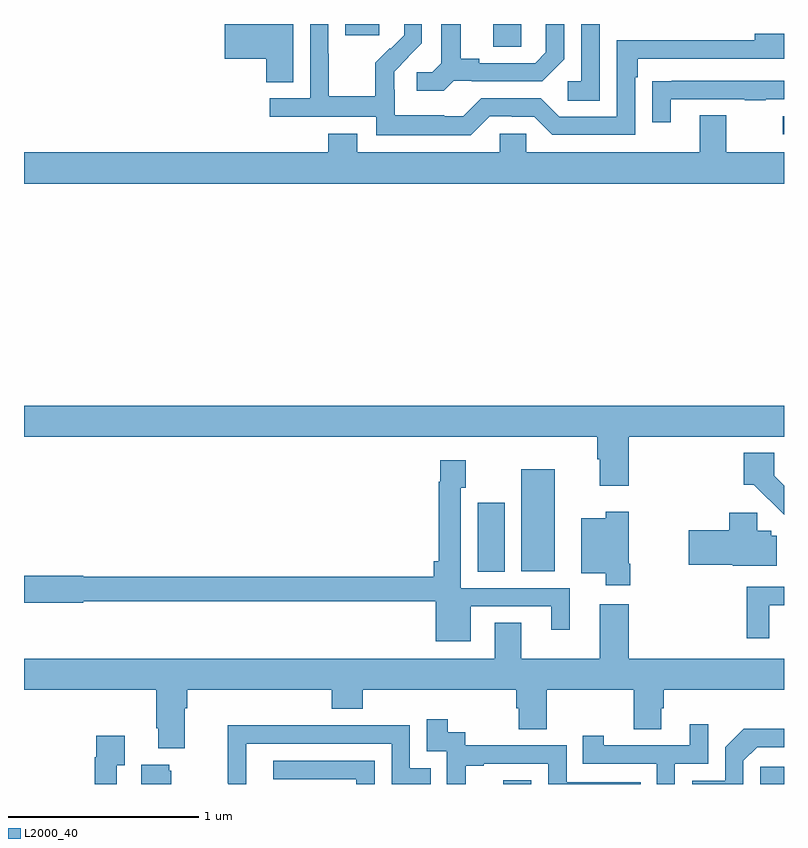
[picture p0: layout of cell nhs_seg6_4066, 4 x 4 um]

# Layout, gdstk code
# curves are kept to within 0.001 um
import gdstk
lib = gdstk.Library(unit=1e-6, precision=1e-09)
def R(c, l, rs):  # rectangles x0, y0, x1, y1
    for r in rs: c.add(gdstk.rectangle(r[:2], r[2:], *l))
def P(c, l, *ps):  # polygons
    for p in ps: c.add(gdstk.Polygon(p, *l))
L2000_40 = (2000, 40)

nhs_seg6_4066 = lib.new_cell('nhs_seg6_4066')
R(nhs_seg6_4066, L2000_40, [(353.523,953.5,353.67,953.521), (354.876,953.5,355,953.59), (353.387,954.616,353.53,954.979), (353.618,954.62,353.794,955.156), (354.993,956.919,355,957.015), (353.471,957.379,353.616,957.5), (352.691,957.441,352.87,957.5)])
P(nhs_seg6_4066, L2000_40, [(353.451,957.015),(353.567,957.015),(353.567,957.012),(353.685,957.012),(353.781,956.916),(354.216,956.916),(354.216,957.221),(354.229,957.221),(354.229,957.318),(355,957.318),(355,957.448),(354.845,957.448),(354.845,957.414),(354.12,957.414),(354.12,957.012),(353.817,957.012),(353.721,957.108),(353.406,957.108),(353.313,957.015),(353.213,957.015),(353.213,957.019),(352.95,957.019),(352.95,957.153),(352.948,957.153),(352.948,957.25),(353.094,957.398),(353.094,957.5),(353,957.5),(353,957.44),(352.929,957.369),(352.926,957.372),(352.849,957.295),(352.849,957.121),(352.605,957.121),(352.605,957.344),(352.602,957.344),(352.602,957.5),(352.506,957.5),(352.506,957.108),(352.293,957.108),(352.293,957.012),(352.854,957.012),(352.854,956.915),(353.351,956.915)],
  [(353.262,957.201),(353.356,957.201),(353.356,957.198),(353.728,957.198),(353.844,957.314),(353.844,957.5),(353.747,957.5),(353.747,957.351),(353.69,957.294),(353.395,957.294),(353.395,957.317),(353.299,957.317),(353.299,957.5),(353.195,957.5),(353.195,957.293),(353.148,957.246),(353.067,957.246),(353.067,957.149),(353.21,957.149)],
  [(352.417,957.5),(352.056,957.5),(352.056,957.317),(352.274,957.317),(352.274,957.193),(352.417,957.193)],
  [(354.03,957.5),(353.934,957.5),(353.934,957.198),(353.862,957.198),(353.862,957.097),(354.03,957.097)],
  [(354.403,957.105),(354.793,957.105),(354.793,957.1),(354.905,957.1),(354.905,957.105),(355,957.105),(355,957.201),(354.409,957.201),(354.409,957.2),(354.307,957.2),(354.307,956.982),(354.403,956.982)],
  [(355,956.824),(354.697,956.824),(354.697,957.019),(354.557,957.019),(354.557,956.824),(353.643,956.824),(353.643,956.922),(353.505,956.922),(353.505,956.824),(352.753,956.824),(352.753,956.923),(352.601,956.923),(352.601,956.824),(351,956.824),(351,956.66),(355,956.66)],
  [(354.182,955.328),(355,955.328),(355,955.492),(351,955.492),(351,955.328),(354.017,955.328),(354.017,955.208),(354.029,955.208),(354.029,955.071),(354.182,955.071)],
  [(355,955.07),(354.948,955.122),(354.948,955.243),(354.788,955.243),(354.788,955.076),(354.841,955.076),(355,954.918)],
  [(353.35,954.435),(353.774,954.435),(353.774,954.312),(353.872,954.312),(353.872,954.531),(353.298,954.531),(353.298,955.059),(353.325,955.059),(353.325,955.204),(353.19,955.204),(353.19,955.091),(353.182,955.091),(353.182,954.673),(353.156,954.673),(353.156,954.59),(351.312,954.59),(351.312,954.596),(351,954.596),(351,954.454),(351.312,954.454),(351.312,954.462),(353.168,954.462),(353.168,954.251),(353.35,954.251)],
  [(354.192,954.658),(354.184,954.658),(354.184,954.934),(354.062,954.934),(354.062,954.898),(353.933,954.898),(353.933,954.608),(354.062,954.608),(354.062,954.546),(354.192,954.546)],
  [(354.961,954.807),(354.933,954.807),(354.933,954.834),(354.858,954.834),(354.858,954.928),(354.713,954.928),(354.713,954.836),(354.498,954.836),(354.498,954.653),(354.729,954.653),(354.729,954.65),(354.961,954.65)],
  [(354.922,954.441),(355,954.441),(355,954.537),(354.805,954.537),(354.805,954.267),(354.922,954.267)],
  [(351.847,953.9),(351.86,953.9),(351.86,953.996),(352.619,953.996),(352.619,953.897),(352.784,953.897),(352.784,953.996),(353.591,953.996),(353.591,953.898),(353.603,953.898),(353.603,953.788),(353.751,953.788),(353.751,953.996),(354.208,953.996),(354.208,953.788),(354.355,953.788),(354.355,953.898),(354.368,953.898),(354.368,953.996),(355,953.996),(355,954.16),(354.182,954.16),(354.182,954.445),(354.029,954.445),(354.029,954.16),(353.617,954.16),(353.617,954.35),(353.477,954.35),(353.477,954.16),(351,954.16),(351,953.996),(351.695,953.996),(351.695,953.794),(351.707,953.794),(351.707,953.687),(351.847,953.687)],
  [(353.324,953.595),(353.419,953.595),(353.419,953.607),(353.76,953.607),(353.76,953.5),(354.245,953.5),(354.245,953.508),(353.856,953.508),(353.856,953.703),(353.322,953.703),(353.322,953.772),(353.23,953.772),(353.23,953.842),(353.121,953.842),(353.121,953.673),(353.226,953.673),(353.226,953.5),(353.324,953.5)],
  [(354.426,953.607),(354.6,953.607),(354.6,953.815),(354.503,953.815),(354.503,953.703),(354.052,953.703),(354.052,953.755),(353.941,953.755),(353.941,953.607),(354.33,953.607),(354.33,953.5),(354.426,953.5)],
  [(352.17,953.712),(352.935,953.712),(352.935,953.5),(353.141,953.5),(353.141,953.583),(353.031,953.583),(353.031,953.808),(352.535,953.808),(352.535,953.81),(352.072,953.81),(352.072,953.503),(352.074,953.503),(352.074,953.5),(352.17,953.5)],
  [(354.786,953.622),(354.858,953.694),(355,953.694),(355,953.792),(354.788,953.792),(354.69,953.694),(354.69,953.517),(354.516,953.517),(354.516,953.5),(354.786,953.5)],
  [(351.489,953.599),(351.529,953.599),(351.529,953.755),(351.381,953.755),(351.381,953.642),(351.373,953.642),(351.373,953.5),(351.489,953.5)],
  [(352.845,953.622),(352.311,953.622),(352.311,953.526),(352.749,953.526),(352.749,953.5),(352.845,953.5)],
  [(351.775,953.571),(351.764,953.571),(351.764,953.602),(351.617,953.602),(351.617,953.5),(351.775,953.5)])

lib.write_gds('nhs_seg6_4066.gds')
